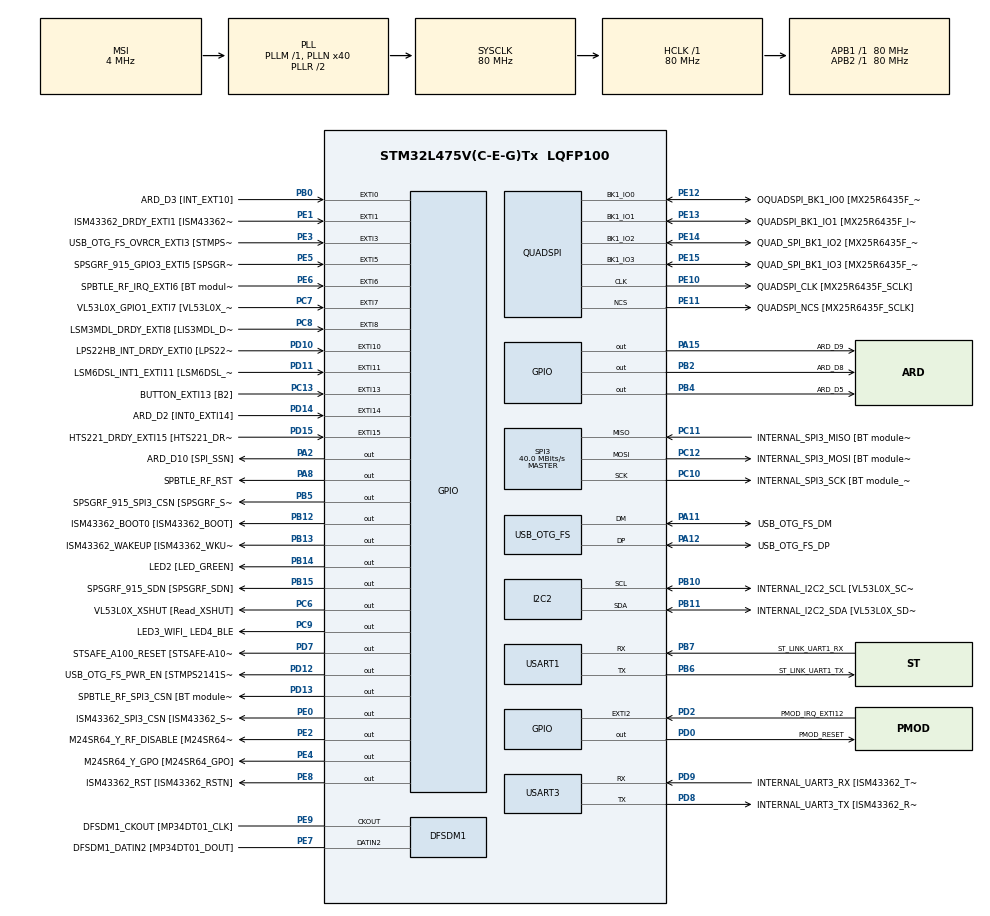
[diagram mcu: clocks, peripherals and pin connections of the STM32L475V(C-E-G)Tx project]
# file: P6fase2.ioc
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Mcu.Family=STM32L4
Mcu.Name=STM32L475V(C-E-G)Tx
Mcu.Package=LQFP100
NVIC.EXTI15_10_IRQn=true\:0\:0\:false\:false\:true\:true\:true\:true
NVIC.EXTI9_5_IRQn=true\:0\:0\:false\:false\:true\:true\:true\:true
NVIC.OTG_FS_IRQn=true\:0\:0\:false\:false\:true\:true\:true\:true
NVIC.PriorityGroup=NVIC_PRIORITYGROUP_4
PA0.GPIO_Label=ARD_D1 [UART4_TX]
PA0.Signal=UART4_TX
PA1.GPIO_Label=ARD_D0 [UART4_RX]
PA1.Signal=UART4_RX
PA10.GPIO_Label=USB_OTG_FS_ID
PA10.Signal=USB_OTG_FS_ID
PA11.GPIO_Label=USB_OTG_FS_DM
PA11.Mode=Device_Only
PA11.Signal=USB_OTG_FS_DM
PA12.GPIO_Label=USB_OTG_FS_DP
PA12.Mode=Device_Only
PA12.Signal=USB_OTG_FS_DP
PA13\ (JTMS-SWDIO).GPIO_Label=SYS_JTMS_SWDIO
PA13\ (JTMS-SWDIO).Mode=Serial_Wire
PA13\ (JTMS-SWDIO).Signal=SYS_JTMS-SWDIO
PA14\ (JTCK-SWCLK).GPIO_Label=SYS_JTCK_SWCLK
PA14\ (JTCK-SWCLK).Mode=Serial_Wire
PA14\ (JTCK-SWCLK).Signal=SYS_JTCK-SWCLK
PA15\ (JTDI).GPIO_Label=ARD_D9
PA15\ (JTDI).Signal=GPIO_Output
PA2.GPIO_Label=ARD_D10 [SPI_SSN]
PA2.Signal=GPIO_Output
PA3.GPIO_Label=ARD_D4
PA3.Signal=S_TIM2_CH4
PA4.GPIO_Label=ARD_D7
PA4.Signal=ADCx_IN9
PA5.GPIO_Label=ARD_D13 [SPI1_SCK]
PA5.Signal=SPI1_SCK
PA6.GPIO_Label=ARD_D12 [SPI1_MISO]
PA6.Signal=SPI1_MISO
PA7.GPIO_Label=ARD_D11 [SPI1_MOSI]
PA7.Signal=SPI1_MOSI
PA8.GPIO_Label=SPBTLE_RF_RST
PA8.Signal=GPIO_Output
PA9.GPIO_Label=USB_OTG_FS_VBUS [STMPS2141STR_OUT]
PA9.Signal=USB_OTG_FS_VBUS
PB0.GPIO_Label=ARD_D3 [INT_EXT10]
PB0.Signal=GPXTI0
PB1.GPIO_Label=ARD_D6 [ADC1_IN6]
PB1.Signal=ADCx_IN16
PB10.GPIO_Label=INTERNAL_I2C2_SCL [VL53L0X_SCL]
PB10.GPIO_Pu=GPIO_PULLUP
PB10.Mode=I2C
PB10.Signal=I2C2_SCL
PB11.GPIO_Label=INTERNAL_I2C2_SDA [VL53L0X_SDA]
PB11.GPIO_Pu=GPIO_PULLUP
PB11.Mode=I2C
PB11.Signal=I2C2_SDA
PB12.GPIO_Label=ISM43362_BOOT0 [ISM43362_BOOT]
PB12.Signal=GPIO_Output
PB13.GPIO_Label=ISM43362_WAKEUP [ISM43362_WKUP]
PB13.Signal=GPIO_Output
PB14.GPIO_Label=LED2 [LED_GREEN]
PB14.Signal=GPIO_Output
PB15.GPIO_Label=SPSGRF_915_SDN [SPSGRF_SDN]
PB15.Signal=GPIO_Output
PB2.GPIO_Label=ARD_D8
PB2.Signal=GPIO_Output
PB3\ (JTDO-TRACESWO).GPIO_Label=SYS_JTD0_SWO
PB3\ (JTDO-TRACESWO).Signal=SYS_JTDO-SWO
PB4\ (NJTRST).GPIO_Label=ARD_D5
PB4\ (NJTRST).Signal=GPIO_Output
PB5.GPIO_Label=SPSGRF_915_SPI3_CSN [SPSGRF_SPI_CS]
PB5.PinState=GPIO_PIN_SET
PB5.Signal=GPIO_Output
PB6.GPIO_Label=ST_LINK_UART1_TX
PB6.Mode=Asynchronous
PB6.Signal=USART1_TX
PB7.GPIO_Label=ST_LINK_UART1_RX
PB7.Mode=Asynchronous
PB7.Signal=USART1_RX
PB8.GPIO_Label=ARD_D15 [I2C1_SCL]
PB8.Signal=I2C1_SCL
PB9.GPIO_Label=ARD_D14 [I2C1_SDA]
PB9.Signal=I2C1_SDA
PC0.GPIO_Label=ARD_A5 [ADC]
PC0.Signal=ADCx_IN1
PC1.GPIO_Label=ARD_A4 [ADC]
PC1.Signal=ADCx_IN2
PC10.GPIO_Label=INTERNAL_SPI3_SCK [BT module_SPI_SCLK] [ISM43362_SCK]
PC10.Mode=Full_Duplex_Master
PC10.Signal=SPI3_SCK
PC11.GPIO_Label=INTERNAL_SPI3_MISO [BT module_SPI_MISO] [ISM43362_MISO]
PC11.Mode=Full_Duplex_Master
PC11.Signal=SPI3_MISO
PC12.GPIO_Label=INTERNAL_SPI3_MOSI [BT module_SPI_MOSI] [ISM43362_MOSI]
PC12.Mode=Full_Duplex_Master
PC12.Signal=SPI3_MOSI
PC13.GPIO_Label=BUTTON_EXTI13 [B2]
PC13.GPIO_ModeDefaultEXTI=GPIO_MODE_IT_FALLING
PC13.Signal=GPXTI13
PC14-OSC32_IN\ (PC14).Mode=LSE-External-Oscillator
PC14-OSC32_IN\ (PC14).Signal=RCC_OSC32_IN
PC15-OSC32_OUT\ (PC15).Mode=LSE-External-Oscillator
PC15-OSC32_OUT\ (PC15).Signal=RCC_OSC32_OUT
PC2.GPIO_Label=ARD_A3 [ADC]
PC2.Signal=ADCx_IN3
PC3.GPIO_Label=ARD_A2 [ADC]
PC3.Signal=ADCx_IN4
PC4.GPIO_Label=ARD_A1 [ADC]
PC4.Signal=ADCx_IN13
PC5.GPIO_Label=ARD_A0 [ADC]
PC5.Signal=ADCx_IN14
PC6.GPIO_Label=VL53L0X_XSHUT [Read_XSHUT]
PC6.Signal=GPIO_Output
PC7.GPIO_Label=VL53L0X_GPIO1_EXTI7 [VL53L0X_GPIO1]
PC7.Signal=GPXTI7
PC8.GPIO_Label=LSM3MDL_DRDY_EXTI8 [LIS3MDL_DRDY]
PC8.Signal=GPXTI8
PC9.GPIO_Label=LED3_WIFI_ LED4_BLE
PC9.Signal=GPIO_Output
PD0.GPIO_Label=PMOD_RESET
PD0.Signal=GPIO_Output
PD1.GPIO_Label=PMOD_SPI2_SCK
PD1.Signal=SPI2_SCK
PD10.GPIO_Label=LPS22HB_INT_DRDY_EXTI0 [LPS22HB_INT_DRDY] 
PD10.Signal=GPXTI10
PD11.GPIO_Label=LSM6DSL_INT1_EXTI11 [LSM6DSL_INT1]
PD11.Signal=GPXTI11
PD12.GPIO_Label=USB_OTG_FS_PWR_EN [STMPS2141STR_EN]
PD12.Signal=GPIO_Output
PD13.GPIO_Label=SPBTLE_RF_SPI3_CSN [BT module_SPI_CS]
PD13.PinState=GPIO_PIN_SET
PD13.Signal=GPIO_Output
PD14.GPIO_Label=ARD_D2 [INT0_EXTI14]
PD14.Signal=GPXTI14
PD15.GPIO_Label=HTS221_DRDY_EXTI15 [HTS221_DRDY]
PD15.Signal=GPXTI15
PD2.GPIO_Label=PMOD_IRQ_EXTI12
PD2.Signal=GPXTI2
PD3.GPIO_Label=PMOD_UART2_CTS
PD3.Signal=USART2_CTS
PD4.GPIO_Label=PMOD_UART2_RTS
PD4.Signal=USART2_RTS
PD5.GPIO_Label=PMOD_UART2_TX
PD5.Signal=USART2_TX
PD6.GPIO_Label=PMOD_UART2_RX
PD6.Signal=USART2_RX
PD7.GPIO_Label=STSAFE_A100_RESET [STSAFE-A100_RESET]
PD7.Signal=GPIO_Output
PD8.GPIO_Label=INTERNAL_UART3_TX [ISM43362_RX]
PD8.Mode=Asynchronous
PD8.Signal=USART3_TX
PD9.GPIO_Label=INTERNAL_UART3_RX [ISM43362_TX]
PD9.Mode=Asynchronous
PD9.Signal=USART3_RX
PE0.GPIO_Label=ISM43362_SPI3_CSN [ISM43362_SSN]
PE0.PinState=GPIO_PIN_SET
PE0.Signal=GPIO_Output
PE1.GPIO_Label=ISM43362_DRDY_EXTI1 [ISM43362_DATARDY]
PE1.Signal=GPXTI1
PE10.GPIO_Label=QUADSPI_CLK [MX25R6435F_SCLK]
PE10.Mode=Single Bank
PE10.Signal=QUADSPI_CLK
PE11.GPIO_Label=QUADSPI_NCS [MX25R6435F_SCLK]
PE11.Mode=Single Bank
PE11.Signal=QUADSPI_NCS
PE12.GPIO_Label=OQUADSPI_BK1_IO0 [MX25R6435F_IO0]
PE12.Mode=Single Bank
PE12.Signal=QUADSPI_BK1_IO0
PE13.GPIO_Label=QUADSPI_BK1_IO1 [MX25R6435F_IO1]
PE13.Mode=Single Bank
PE13.Signal=QUADSPI_BK1_IO1
PE14.GPIO_Label=QUAD_SPI_BK1_IO2 [MX25R6435F_IO2]
PE14.Mode=Single Bank
PE14.Signal=QUADSPI_BK1_IO2
PE15.GPIO_Label=QUAD_SPI_BK1_IO3 [MX25R6435F_IO3]
PE15.Mode=Single Bank
PE15.Signal=QUADSPI_BK1_IO3
PE2.GPIO_Label=M24SR64_Y_RF_DISABLE [M24SR64_RFDIS]
PE2.Signal=GPIO_Output
PE3.GPIO_Label=USB_OTG_FS_OVRCR_EXTI3 [STMPS2141STR_FAULT]
PE3.Signal=GPXTI3
PE4.GPIO_Label=M24SR64_Y_GPO [M24SR64_GPO]
PE4.Signal=GPIO_Output
PE5.GPIO_Label=SPSGRF_915_GPIO3_EXTI5 [SPSGRF_GPIO_3]
PE5.Signal=GPXTI5
PE6.GPIO_Label=SPBTLE_RF_IRQ_EXTI6 [BT module_SPI_IRQ]
PE6.Signal=GPXTI6
PE7.GPIO_Label=DFSDM1_DATIN2 [MP34DT01_DOUT]
PE7.Signal=S_DATAIN2DFSDM1
PE8.GPIO_Label=ISM43362_RST [ISM43362_RSTN]
PE8.Signal=GPIO_Output
PE9.GPIO_Label=DFSDM1_CKOUT [MP34DT01_CLK]
PE9.Signal=S_CKOUTDFSDM1
ProjectManager.HeapSize=0x200
ProjectManager.StackSize=0x400
ProjectManager.TargetToolchain=STM32CubeIDE
QUADSPI.ClockPrescaler=2
QUADSPI.FifoThreshold=4
QUADSPI.FlashSize=23
QUADSPI.SampleShifting=QSPI_SAMPLE_SHIFTING_HALFCYCLE
RCC.ADCFreq_Value=48000000
RCC.AHBFreq_Value=80000000
RCC.APB1Freq_Value=80000000
RCC.APB1TimFreq_Value=80000000
RCC.APB2Freq_Value=80000000
RCC.APB2TimFreq_Value=80000000
RCC.CortexFreq_Value=80000000
RCC.HCLKFreq_Value=80000000
RCC.HSE_VALUE=8000000
RCC.HSI_VALUE=16000000
RCC.MSI_VALUE=4000000
RCC.PLLN=40
RCC.PLLSAI1N=24
RCC.SYSCLKFreq_VALUE=80000000
RCC.SYSCLKSource=RCC_SYSCLKSOURCE_PLLCLK
RCC.USBFreq_Value=48000000
RCC.VCOOutputFreq_Value=160000000
SH.ADCx_IN1.0=ADC1_IN1
SH.ADCx_IN13.0=ADC1_IN13
SH.ADCx_IN14.0=ADC1_IN14
SH.ADCx_IN16.0=ADC1_IN16
SH.ADCx_IN2.0=ADC1_IN2
SH.ADCx_IN3.0=ADC1_IN3
SH.ADCx_IN4.0=ADC1_IN4
SH.ADCx_IN9.0=ADC1_IN9
SH.S_CKOUTDFSDM1.0=DFSDM1_CKOUT,CKOUT
SH.S_CKOUTDFSDM1.1=DFSDM1_CKOUT,PDM_SPI_Input_from_ch12_and_Internal_Clock
SH.S_DATAIN2DFSDM1.0=DFSDM1_DATIN2,PDM_SPI_Input_from_ch12_and_Internal_Clock
SH.S_TIM2_CH4.0=TIM2_CH4
SPI3.CalculateBaudRate=40.0 MBits/s
SPI3.Direction=SPI_DIRECTION_2LINES
SPI3.Mode=SPI_MODE_MASTER
SPI3.VirtualType=VM_MASTER
USART1.VirtualMode-Asynchronous=VM_ASYNC
USART3.VirtualMode-Asynchronous=VM_ASYNC
USB_DEVICE.CLASS_NAME_FS=CUSTOM_HID
USB_DEVICE.MANUFACTURER_STRING=SETR1Microelectronics
USB_DEVICE.PID_CUSTOMHID_FS=22369
USB_DEVICE.PRODUCT_STRING_CUSTOMHID_FS=Setr1 Custom Human interface
USB_DEVICE.USBD_CUSTOMHID_OUTREPORT_BUF_SIZE=6
USB_DEVICE.USBD_CUSTOM_HID_REPORT_DESC_SIZE=29
USB_DEVICE.VID=1169
USB_DEVICE.VirtualMode=CustomHid
USB_DEVICE.VirtualModeFS=Custom_Hid_FS
USB_OTG_FS.VirtualMode=Device_Only
VP_USB_DEVICE_VS_USB_DEVICE_CUSTOM_HID_FS.Mode=CUSTOM_HID_FS
board=B-L475E-IOT01A2

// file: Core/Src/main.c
/* USER CODE BEGIN Header */
/**
  ******************************************************************************
  * @file           : main.c
  * @brief          : Main program body
  ******************************************************************************
  * @attention
  *
  * Copyright (c) 2024 STMicroelectronics.
  * All rights reserved.
  *
  * This software is licensed under terms that can be found in the LICENSE file
  * in the root directory of this software component.
  * If no LICENSE file comes with this software, it is provided AS-IS.
  *
  ******************************************************************************
  */
/* USER CODE END Header */
#include "main.h"
#include "usb_device.h"

DFSDM_Channel_HandleTypeDef hdfsdm1_channel1;

I2C_HandleTypeDef hi2c2;

QSPI_HandleTypeDef hqspi;

SPI_HandleTypeDef hspi3;

UART_HandleTypeDef huart1;
UART_HandleTypeDef huart3;

/* USER CODE BEGIN PV */
extern USBD_HandleTypeDef hUsbDeviceFS;
extern uint8_t miflag;
/* USER CODE END PV */

void SystemClock_Config(void);
static void MX_GPIO_Init(void);
static void MX_DFSDM1_Init(void);
static void MX_I2C2_Init(void);
static void MX_QUADSPI_Init(void);
static void MX_SPI3_Init(void);
static void MX_USART1_UART_Init(void);
static void MX_USART3_UART_Init(void);

int main(void)
{

  /* MCU Configuration--------------------------------------------------------*/

  /* Reset of all peripherals, Initializes the Flash interface and the Systick. */
  HAL_Init();

  /* Configure the system clock */
  SystemClock_Config();

  /* Initialize all configured peripherals */
  MX_GPIO_Init();
  MX_DFSDM1_Init();
  MX_I2C2_Init();
  MX_QUADSPI_Init();
  MX_SPI3_Init();
  MX_USART1_UART_Init();
  MX_USART3_UART_Init();
  MX_USB_DEVICE_Init();
  /* USER CODE BEGIN 2 */
HAL_Delay(5000);
  /* USER CODE END 2 */

  /* Infinite loop */
  /* USER CODE BEGIN WHILE */
  int i;
  uint8_t dato[6];
  USBD_LL_PrepareReceive(&hUsbDeviceFS,1,dato,6);
  while (1)
  {
	  if(miflag==1){
		  USBD_LL_PrepareReceive(&hUsbDeviceFS,1,dato,6);
		  miflag = 0;
	  }
	  for (i=0;i<50;i++)
	  {
	  dato[1]=4;
	  dato[2]=4;
	  USBD_CUSTOM_HID_SendReport_FS(dato,6);
	  HAL_Delay(100);
	  }
	  for (i=0;i<50;i++)
	  {
	  dato[1]=-4;
	  dato[2]=-4;
	  USBD_CUSTOM_HID_SendReport_FS(dato,6);
	  HAL_Delay(100);
	  }
    /* USER CODE END WHILE */

  }
}

void SystemClock_Config(void)
{
  RCC_OscInitTypeDef RCC_OscInitStruct = {0};
  RCC_ClkInitTypeDef RCC_ClkInitStruct = {0};

  /** Configure the main internal regulator output voltage
  */
  if (HAL_PWREx_ControlVoltageScaling(PWR_REGULATOR_VOLTAGE_SCALE1) != HAL_OK)
  {
    Error_Handler();
  }

  /** Configure LSE Drive Capability
  */
  HAL_PWR_EnableBkUpAccess();
  __HAL_RCC_LSEDRIVE_CONFIG(RCC_LSEDRIVE_LOW);

  /** Initializes the RCC Oscillators according to the specified parameters
  * in the RCC_OscInitTypeDef structure.
  */
  RCC_OscInitStruct.OscillatorType = RCC_OSCILLATORTYPE_LSE|RCC_OSCILLATORTYPE_MSI;
  RCC_OscInitStruct.LSEState = RCC_LSE_ON;
  RCC_OscInitStruct.MSIState = RCC_MSI_ON;
  RCC_OscInitStruct.MSICalibrationValue = 0;
  RCC_OscInitStruct.MSIClockRange = RCC_MSIRANGE_6;
  RCC_OscInitStruct.PLL.PLLState = RCC_PLL_ON;
  RCC_OscInitStruct.PLL.PLLSource = RCC_PLLSOURCE_MSI;
  RCC_OscInitStruct.PLL.PLLM = 1;
  RCC_OscInitStruct.PLL.PLLN = 40;
  RCC_OscInitStruct.PLL.PLLP = RCC_PLLP_DIV7;
  RCC_OscInitStruct.PLL.PLLQ = RCC_PLLQ_DIV2;
  RCC_OscInitStruct.PLL.PLLR = RCC_PLLR_DIV2;
  if (HAL_RCC_OscConfig(&RCC_OscInitStruct) != HAL_OK)
  {
    Error_Handler();
  }

  /** Initializes the CPU, AHB and APB buses clocks
  */
  RCC_ClkInitStruct.ClockType = RCC_CLOCKTYPE_HCLK|RCC_CLOCKTYPE_SYSCLK
                              |RCC_CLOCKTYPE_PCLK1|RCC_CLOCKTYPE_PCLK2;
  RCC_ClkInitStruct.SYSCLKSource = RCC_SYSCLKSOURCE_PLLCLK;
  RCC_ClkInitStruct.AHBCLKDivider = RCC_SYSCLK_DIV1;
  RCC_ClkInitStruct.APB1CLKDivider = RCC_HCLK_DIV1;
  RCC_ClkInitStruct.APB2CLKDivider = RCC_HCLK_DIV1;

  if (HAL_RCC_ClockConfig(&RCC_ClkInitStruct, FLASH_LATENCY_4) != HAL_OK)
  {
    Error_Handler();
  }

  /** Enable MSI Auto calibration
  */
  HAL_RCCEx_EnableMSIPLLMode();
}

static void MX_DFSDM1_Init(void)
{

  hdfsdm1_channel1.Instance = DFSDM1_Channel1;
  hdfsdm1_channel1.Init.OutputClock.Activation = ENABLE;
  hdfsdm1_channel1.Init.OutputClock.Selection = DFSDM_CHANNEL_OUTPUT_CLOCK_SYSTEM;
  hdfsdm1_channel1.Init.OutputClock.Divider = 2;
  hdfsdm1_channel1.Init.Input.Multiplexer = DFSDM_CHANNEL_EXTERNAL_INPUTS;
  hdfsdm1_channel1.Init.Input.DataPacking = DFSDM_CHANNEL_STANDARD_MODE;
  hdfsdm1_channel1.Init.Input.Pins = DFSDM_CHANNEL_FOLLOWING_CHANNEL_PINS;
  hdfsdm1_channel1.Init.SerialInterface.Type = DFSDM_CHANNEL_SPI_RISING;
  hdfsdm1_channel1.Init.SerialInterface.SpiClock = DFSDM_CHANNEL_SPI_CLOCK_INTERNAL;
  hdfsdm1_channel1.Init.Awd.FilterOrder = DFSDM_CHANNEL_FASTSINC_ORDER;
  hdfsdm1_channel1.Init.Awd.Oversampling = 1;
  hdfsdm1_channel1.Init.Offset = 0;
  hdfsdm1_channel1.Init.RightBitShift = 0x00;
  if (HAL_DFSDM_ChannelInit(&hdfsdm1_channel1) != HAL_OK)
  {
    Error_Handler();
  }

}

static void MX_I2C2_Init(void)
{

  hi2c2.Instance = I2C2;
  hi2c2.Init.Timing = 0x00000E14;
  hi2c2.Init.OwnAddress1 = 0;
  hi2c2.Init.AddressingMode = I2C_ADDRESSINGMODE_7BIT;
  hi2c2.Init.DualAddressMode = I2C_DUALADDRESS_DISABLE;
  hi2c2.Init.OwnAddress2 = 0;
  hi2c2.Init.OwnAddress2Masks = I2C_OA2_NOMASK;
  hi2c2.Init.GeneralCallMode = I2C_GENERALCALL_DISABLE;
  hi2c2.Init.NoStretchMode = I2C_NOSTRETCH_DISABLE;
  if (HAL_I2C_Init(&hi2c2) != HAL_OK)
  {
    Error_Handler();
  }

  /** Configure Analogue filter
  */
  if (HAL_I2CEx_ConfigAnalogFilter(&hi2c2, I2C_ANALOGFILTER_ENABLE) != HAL_OK)
  {
    Error_Handler();
  }

  /** Configure Digital filter
  */
  if (HAL_I2CEx_ConfigDigitalFilter(&hi2c2, 0) != HAL_OK)
  {
    Error_Handler();
  }

}

static void MX_QUADSPI_Init(void)
{

  /* QUADSPI parameter configuration*/
  hqspi.Instance = QUADSPI;
  hqspi.Init.ClockPrescaler = 2;
  hqspi.Init.FifoThreshold = 4;
  hqspi.Init.SampleShifting = QSPI_SAMPLE_SHIFTING_HALFCYCLE;
  hqspi.Init.FlashSize = 23;
  hqspi.Init.ChipSelectHighTime = QSPI_CS_HIGH_TIME_1_CYCLE;
  hqspi.Init.ClockMode = QSPI_CLOCK_MODE_0;
  if (HAL_QSPI_Init(&hqspi) != HAL_OK)
  {
    Error_Handler();
  }

}

static void MX_SPI3_Init(void)
{

  /* SPI3 parameter configuration*/
  hspi3.Instance = SPI3;
  hspi3.Init.Mode = SPI_MODE_MASTER;
  hspi3.Init.Direction = SPI_DIRECTION_2LINES;
  hspi3.Init.DataSize = SPI_DATASIZE_4BIT;
  hspi3.Init.CLKPolarity = SPI_POLARITY_LOW;
  hspi3.Init.CLKPhase = SPI_PHASE_1EDGE;
  hspi3.Init.NSS = SPI_NSS_SOFT;
  hspi3.Init.BaudRatePrescaler = SPI_BAUDRATEPRESCALER_2;
  hspi3.Init.FirstBit = SPI_FIRSTBIT_MSB;
  hspi3.Init.TIMode = SPI_TIMODE_DISABLE;
  hspi3.Init.CRCCalculation = SPI_CRCCALCULATION_DISABLE;
  hspi3.Init.CRCPolynomial = 7;
  hspi3.Init.CRCLength = SPI_CRC_LENGTH_DATASIZE;
  hspi3.Init.NSSPMode = SPI_NSS_PULSE_ENABLE;
  if (HAL_SPI_Init(&hspi3) != HAL_OK)
  {
    Error_Handler();
  }

}

static void MX_USART1_UART_Init(void)
{

  huart1.Instance = USART1;
  huart1.Init.BaudRate = 115200;
  huart1.Init.WordLength = UART_WORDLENGTH_8B;
  huart1.Init.StopBits = UART_STOPBITS_1;
  huart1.Init.Parity = UART_PARITY_NONE;
  huart1.Init.Mode = UART_MODE_TX_RX;
  huart1.Init.HwFlowCtl = UART_HWCONTROL_NONE;
  huart1.Init.OverSampling = UART_OVERSAMPLING_16;
  huart1.Init.OneBitSampling = UART_ONE_BIT_SAMPLE_DISABLE;
  huart1.AdvancedInit.AdvFeatureInit = UART_ADVFEATURE_NO_INIT;
  if (HAL_UART_Init(&huart1) != HAL_OK)
  {
    Error_Handler();
  }

}

static void MX_USART3_UART_Init(void)
{

  huart3.Instance = USART3;
  huart3.Init.BaudRate = 115200;
  huart3.Init.WordLength = UART_WORDLENGTH_8B;
  huart3.Init.StopBits = UART_STOPBITS_1;
  huart3.Init.Parity = UART_PARITY_NONE;
  huart3.Init.Mode = UART_MODE_TX_RX;
  huart3.Init.HwFlowCtl = UART_HWCONTROL_NONE;
  huart3.Init.OverSampling = UART_OVERSAMPLING_16;
  huart3.Init.OneBitSampling = UART_ONE_BIT_SAMPLE_DISABLE;
  huart3.AdvancedInit.AdvFeatureInit = UART_ADVFEATURE_NO_INIT;
  if (HAL_UART_Init(&huart3) != HAL_OK)
  {
    Error_Handler();
  }

}

static void MX_GPIO_Init(void)
{
  GPIO_InitTypeDef GPIO_InitStruct = {0};

  /* GPIO Ports Clock Enable */
  __HAL_RCC_GPIOE_CLK_ENABLE();
  __HAL_RCC_GPIOC_CLK_ENABLE();
  __HAL_RCC_GPIOA_CLK_ENABLE();
  __HAL_RCC_GPIOB_CLK_ENABLE();
  __HAL_RCC_GPIOD_CLK_ENABLE();

  /*Configure GPIO pin Output Level */
  HAL_GPIO_WritePin(GPIOE, M24SR64_Y_RF_DISABLE_Pin|M24SR64_Y_GPO_Pin|ISM43362_RST_Pin, GPIO_PIN_RESET);

  /*Configure GPIO pin Output Level */
  HAL_GPIO_WritePin(GPIOA, ARD_D10_Pin|SPBTLE_RF_RST_Pin|ARD_D9_Pin, GPIO_PIN_RESET);

  /*Configure GPIO pin Output Level */
  HAL_GPIO_WritePin(GPIOB, ARD_D8_Pin|ISM43362_BOOT0_Pin|ISM43362_WAKEUP_Pin|LED2_Pin
                          |SPSGRF_915_SDN_Pin|ARD_D5_Pin, GPIO_PIN_RESET);

  /*Configure GPIO pin Output Level */
  HAL_GPIO_WritePin(GPIOD, USB_OTG_FS_PWR_EN_Pin|PMOD_RESET_Pin|STSAFE_A100_RESET_Pin, GPIO_PIN_RESET);

  /*Configure GPIO pin Output Level */
  HAL_GPIO_WritePin(SPBTLE_RF_SPI3_CSN_GPIO_Port, SPBTLE_RF_SPI3_CSN_Pin, GPIO_PIN_SET);

  /*Configure GPIO pin Output Level */
  HAL_GPIO_WritePin(GPIOC, VL53L0X_XSHUT_Pin|LED3_WIFI__LED4_BLE_Pin, GPIO_PIN_RESET);

  /*Configure GPIO pin Output Level */
  HAL_GPIO_WritePin(SPSGRF_915_SPI3_CSN_GPIO_Port, SPSGRF_915_SPI3_CSN_Pin, GPIO_PIN_SET);

  /*Configure GPIO pin Output Level */
  HAL_GPIO_WritePin(ISM43362_SPI3_CSN_GPIO_Port, ISM43362_SPI3_CSN_Pin, GPIO_PIN_SET);

  /*Configure GPIO pins : M24SR64_Y_RF_DISABLE_Pin M24SR64_Y_GPO_Pin ISM43362_RST_Pin ISM43362_SPI3_CSN_Pin */
  GPIO_InitStruct.Pin = M24SR64_Y_RF_DISABLE_Pin|M24SR64_Y_GPO_Pin|ISM43362_RST_Pin|ISM43362_SPI3_CSN_Pin;
  GPIO_InitStruct.Mode = GPIO_MODE_OUTPUT_PP;
  GPIO_InitStruct.Pull = GPIO_NOPULL;
  GPIO_InitStruct.Speed = GPIO_SPEED_FREQ_LOW;
  HAL_GPIO_Init(GPIOE, &GPIO_InitStruct);

  /*Configure GPIO pins : USB_OTG_FS_OVRCR_EXTI3_Pin SPSGRF_915_GPIO3_EXTI5_Pin SPBTLE_RF_IRQ_EXTI6_Pin ISM43362_DRDY_EXTI1_Pin */
  GPIO_InitStruct.Pin = USB_OTG_FS_OVRCR_EXTI3_Pin|SPSGRF_915_GPIO3_EXTI5_Pin|SPBTLE_RF_IRQ_EXTI6_Pin|ISM43362_DRDY_EXTI1_Pin;
  GPIO_InitStruct.Mode = GPIO_MODE_IT_RISING;
  GPIO_InitStruct.Pull = GPIO_NOPULL;
  HAL_GPIO_Init(GPIOE, &GPIO_InitStruct);

  /*Configure GPIO pin : BUTTON_EXTI13_Pin */
  GPIO_InitStruct.Pin = BUTTON_EXTI13_Pin;
  GPIO_InitStruct.Mode = GPIO_MODE_IT_FALLING;
  GPIO_InitStruct.Pull = GPIO_NOPULL;
  HAL_GPIO_Init(BUTTON_EXTI13_GPIO_Port, &GPIO_InitStruct);

  /*Configure GPIO pins : ARD_A5_Pin ARD_A4_Pin ARD_A3_Pin ARD_A2_Pin
                           ARD_A1_Pin ARD_A0_Pin */
  GPIO_InitStruct.Pin = ARD_A5_Pin|ARD_A4_Pin|ARD_A3_Pin|ARD_A2_Pin
                          |ARD_A1_Pin|ARD_A0_Pin;
  GPIO_InitStruct.Mode = GPIO_MODE_ANALOG_ADC_CONTROL;
  GPIO_InitStruct.Pull = GPIO_NOPULL;
  HAL_GPIO_Init(GPIOC, &GPIO_InitStruct);

  /*Configure GPIO pins : ARD_D1_Pin ARD_D0_Pin */
  GPIO_InitStruct.Pin = ARD_D1_Pin|ARD_D0_Pin;
  GPIO_InitStruct.Mode = GPIO_MODE_AF_PP;
  GPIO_InitStruct.Pull = GPIO_NOPULL;
  GPIO_InitStruct.Speed = GPIO_SPEED_FREQ_VERY_HIGH;
  GPIO_InitStruct.Alternate = GPIO_AF8_UART4;
  HAL_GPIO_Init(GPIOA, &GPIO_InitStruct);

  /*Configure GPIO pins : ARD_D10_Pin SPBTLE_RF_RST_Pin ARD_D9_Pin */
  GPIO_InitStruct.Pin = ARD_D10_Pin|SPBTLE_RF_RST_Pin|ARD_D9_Pin;
  GPIO_InitStruct.Mode = GPIO_MODE_OUTPUT_PP;
  GPIO_InitStruct.Pull = GPIO_NOPULL;
  GPIO_InitStruct.Speed = GPIO_SPEED_FREQ_LOW;
  HAL_GPIO_Init(GPIOA, &GPIO_InitStruct);

  /*Configure GPIO pin : ARD_D4_Pin */
  GPIO_InitStruct.Pin = ARD_D4_Pin;
  GPIO_InitStruct.Mode = GPIO_MODE_AF_PP;
  GPIO_InitStruct.Pull = GPIO_NOPULL;
  GPIO_InitStruct.Speed = GPIO_SPEED_FREQ_LOW;
  GPIO_InitStruct.Alternate = GPIO_AF1_TIM2;
  HAL_GPIO_Init(ARD_D4_GPIO_Port, &GPIO_InitStruct);

  /*Configure GPIO pin : ARD_D7_Pin */
  GPIO_InitStruct.Pin = ARD_D7_Pin;
  GPIO_InitStruct.Mode = GPIO_MODE_ANALOG_ADC_CONTROL;
  GPIO_InitStruct.Pull = GPIO_NOPULL;
  HAL_GPIO_Init(ARD_D7_GPIO_Port, &GPIO_InitStruct);

  /*Configure GPIO pins : ARD_D13_Pin ARD_D12_Pin ARD_D11_Pin */
  GPIO_InitStruct.Pin = ARD_D13_Pin|ARD_D12_Pin|ARD_D11_Pin;
  GPIO_InitStruct.Mode = GPIO_MODE_AF_PP;
  GPIO_InitStruct.Pull = GPIO_NOPULL;
  GPIO_InitStruct.Speed = GPIO_SPEED_FREQ_VERY_HIGH;
  GPIO_InitStruct.Alternate = GPIO_AF5_SPI1;
  HAL_GPIO_Init(GPIOA, &GPIO_InitStruct);

  /*Configure GPIO pin : ARD_D3_Pin */
  GPIO_InitStruct.Pin = ARD_D3_Pin;
  GPIO_InitStruct.Mode = GPIO_MODE_IT_RISING;
  GPIO_InitStruct.Pull = GPIO_NOPULL;
  HAL_GPIO_Init(ARD_D3_GPIO_Port, &GPIO_InitStruct);

  /*Configure GPIO pin : ARD_D6_Pin */
  GPIO_InitStruct.Pin = ARD_D6_Pin;
  GPIO_InitStruct.Mode = GPIO_MODE_ANALOG_ADC_CONTROL;
  GPIO_InitStruct.Pull = GPIO_NOPULL;
  HAL_GPIO_Init(ARD_D6_GPIO_Port, &GPIO_InitStruct);

  /*Configure GPIO pins : ARD_D8_Pin ISM43362_BOOT0_Pin ISM43362_WAKEUP_Pin LED2_Pin
                           SPSGRF_915_SDN_Pin ARD_D5_Pin SPSGRF_915_SPI3_CSN_Pin */
  GPIO_InitStruct.Pin = ARD_D8_Pin|ISM43362_BOOT0_Pin|ISM43362_WAKEUP_Pin|LED2_Pin
                          |SPSGRF_915_SDN_Pin|ARD_D5_Pin|SPSGRF_915_SPI3_CSN_Pin;
  GPIO_InitStruct.Mode = GPIO_MODE_OUTPUT_PP;
  GPIO_InitStruct.Pull = GPIO_NOPULL;
  GPIO_InitStruct.Speed = GPIO_SPEED_FREQ_LOW;
  HAL_GPIO_Init(GPIOB, &GPIO_InitStruct);

  /*Configure GPIO pins : LPS22HB_INT_DRDY_EXTI0_Pin LSM6DSL_INT1_EXTI11_Pin ARD_D2_Pin HTS221_DRDY_EXTI15_Pin
                           PMOD_IRQ_EXTI12_Pin */
  GPIO_InitStruct.Pin = LPS22HB_INT_DRDY_EXTI0_Pin|LSM6DSL_INT1_EXTI11_Pin|ARD_D2_Pin|HTS221_DRDY_EXTI15_Pin
                          |PMOD_IRQ_EXTI12_Pin;
  GPIO_InitStruct.Mode = GPIO_MODE_IT_RISING;
  GPIO_InitStruct.Pull = GPIO_NOPULL;
  HAL_GPIO_Init(GPIOD, &GPIO_InitStruct);

  /*Configure GPIO pins : USB_OTG_FS_PWR_EN_Pin SPBTLE_RF_SPI3_CSN_Pin PMOD_RESET_Pin STSAFE_A100_RESET_Pin */
  GPIO_InitStruct.Pin = USB_OTG_FS_PWR_EN_Pin|SPBTLE_RF_SPI3_CSN_Pin|PMOD_RESET_Pin|STSAFE_A100_RESET_Pin;
  GPIO_InitStruct.Mode = GPIO_MODE_OUTPUT_PP;
  GPIO_InitStruct.Pull = GPIO_NOPULL;
  GPIO_InitStruct.Speed = GPIO_SPEED_FREQ_LOW;
  HAL_GPIO_Init(GPIOD, &GPIO_InitStruct);

  /*Configure GPIO pins : VL53L0X_XSHUT_Pin LED3_WIFI__LED4_BLE_Pin */
  GPIO_InitStruct.Pin = VL53L0X_XSHUT_Pin|LED3_WIFI__LED4_BLE_Pin;
  GPIO_InitStruct.Mode = GPIO_MODE_OUTPUT_PP;
  GPIO_InitStruct.Pull = GPIO_NOPULL;
  GPIO_InitStruct.Speed = GPIO_SPEED_FREQ_LOW;
  HAL_GPIO_Init(GPIOC, &GPIO_InitStruct);

  /*Configure GPIO pins : VL53L0X_GPIO1_EXTI7_Pin LSM3MDL_DRDY_EXTI8_Pin */
  GPIO_InitStruct.Pin = VL53L0X_GPIO1_EXTI7_Pin|LSM3MDL_DRDY_EXTI8_Pin;
  GPIO_InitStruct.Mode = GPIO_MODE_IT_RISING;
  GPIO_InitStruct.Pull = GPIO_NOPULL;
  HAL_GPIO_Init(GPIOC, &GPIO_InitStruct);

  /*Configure GPIO pin : PMOD_SPI2_SCK_Pin */
  GPIO_InitStruct.Pin = PMOD_SPI2_SCK_Pin;
  GPIO_InitStruct.Mode = GPIO_MODE_AF_PP;
  GPIO_InitStruct.Pull = GPIO_NOPULL;
  GPIO_InitStruct.Speed = GPIO_SPEED_FREQ_VERY_HIGH;
  GPIO_InitStruct.Alternate = GPIO_AF5_SPI2;
  HAL_GPIO_Init(PMOD_SPI2_SCK_GPIO_Port, &GPIO_InitStruct);

  /*Configure GPIO pins : PMOD_UART2_CTS_Pin PMOD_UART2_RTS_Pin PMOD_UART2_TX_Pin PMOD_UART2_RX_Pin */
  GPIO_InitStruct.Pin = PMOD_UART2_CTS_Pin|PMOD_UART2_RTS_Pin|PMOD_UART2_TX_Pin|PMOD_UART2_RX_Pin;
  GPIO_InitStruct.Mode = GPIO_MODE_AF_PP;
  GPIO_InitStruct.Pull = GPIO_NOPULL;
  GPIO_InitStruct.Speed = GPIO_SPEED_FREQ_VERY_HIGH;
  GPIO_InitStruct.Alternate = GPIO_AF7_USART2;
  HAL_GPIO_Init(GPIOD, &GPIO_InitStruct);

  /*Configure GPIO pins : ARD_D15_Pin ARD_D14_Pin */
  GPIO_InitStruct.Pin = ARD_D15_Pin|ARD_D14_Pin;
  GPIO_InitStruct.Mode = GPIO_MODE_AF_OD;
  GPIO_InitStruct.Pull = GPIO_NOPULL;
  GPIO_InitStruct.Speed = GPIO_SPEED_FREQ_VERY_HIGH;
  GPIO_InitStruct.Alternate = GPIO_AF4_I2C1;
  HAL_GPIO_Init(GPIOB, &GPIO_InitStruct);

  /* EXTI interrupt init*/
  HAL_NVIC_SetPriority(EXTI9_5_IRQn, 0, 0);
  HAL_NVIC_EnableIRQ(EXTI9_5_IRQn);

  HAL_NVIC_SetPriority(EXTI15_10_IRQn, 0, 0);
  HAL_NVIC_EnableIRQ(EXTI15_10_IRQn);

}

void Error_Handler(void)
{
  __disable_irq();
  while (1)
  {
  }
}
